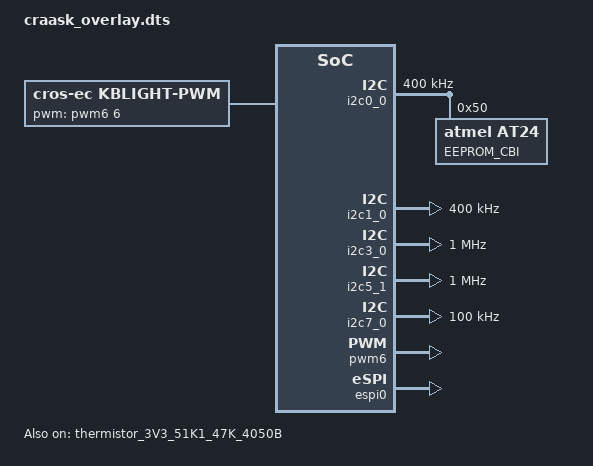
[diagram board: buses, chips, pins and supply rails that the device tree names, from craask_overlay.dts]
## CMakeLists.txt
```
# Copyright 2021 The ChromiumOS Authors
# Use of this source code is governed by a BSD-style license that can be
# found in the LICENSE file.

cmake_minimum_required(VERSION 3.13.1)

find_package(Zephyr REQUIRED HINTS "${ZEPHYR_BASE}")

zephyr_include_directories(include)
zephyr_library_sources("src/common.c")
zephyr_library_sources("src/sub_board.c")
zephyr_library_sources_ifdef(CONFIG_AP_PWRSEQ "src/board_power.c")

if(DEFINED CONFIG_BOARD_NIVVIKS)
	project(nivviks)
	zephyr_library_sources(
			"nivviks/src/led.c"
			"nivviks/src/form_factor.c"
			"nivviks/src/keyboard.c"
	)
	zephyr_library_sources_ifdef(CONFIG_PLATFORM_EC_FAN "nivviks/src/fan.c")
	zephyr_library_sources_ifdef(CONFIG_PLATFORM_EC_USBC "nivviks/src/usbc.c")
	zephyr_library_sources_ifdef(CONFIG_PLATFORM_EC_CHARGER "nivviks/src/charger.c")
endif()
if(DEFINED CONFIG_BOARD_NEREID)
	project(nereid)
	zephyr_library_sources(
			"src/led.c"
			"nereid/src/keyboard.c"
			"nereid/src/hdmi.c"
	)
	zephyr_library_sources_ifdef(CONFIG_PLATFORM_EC_USBC "nereid/src/usbc.c")
	zephyr_library_sources_ifdef(CONFIG_PLATFORM_EC_CHARGER "nereid/src/charger.c")
endif()
if(DEFINED CONFIG_BOARD_CRAASK)
	zephyr_library_sources(
			"craask/src/form_factor.c"
			"craask/src/keyboard.c"
			"craask/src/led.c"
	)
	project(craask)
	zephyr_library_sources_ifdef(CONFIG_PLATFORM_EC_USBC "craask/src/usbc.c")
	zephyr_library_sources_ifdef(CONFIG_PLATFORM_EC_CHARGER "craask/src/charger.c")
endif()
if(DEFINED CONFIG_BOARD_PUJJO)
	project(pujjo)
	zephyr_library_sources(
			"pujjo/src/led.c"
			"pujjo/src/keyboard.c"
			"pujjo/src/hdmi.c"
			"pujjo/src/form_factor.c"
	)
	zephyr_library_sources_ifdef(CONFIG_PLATFORM_EC_FAN "pujjo/src/fan.c")
	zephyr_library_sources_ifdef(CONFIG_PLATFORM_EC_USBC "pujjo/src/usbc.c")
	zephyr_library_sources_ifdef(CONFIG_PLATFORM_EC_CHARGER "pujjo/src/charger.c")
endif()
if(DEFINED CONFIG_BOARD_XIVU)
	project(xivu)
	zephyr_library_sources(
			"xivu/src/keyboard.c"
	)
	zephyr_library_sources_ifdef(CONFIG_PLATFORM_EC_USBC "xivu/src/usbc.c")
	zephyr_library_sources_ifdef(CONFIG_PLATFORM_EC_CHARGER "xivu/src/charger.c")
endif()
if(DEFINED CONFIG_BOARD_JOXER)
	project(joxer)
	zephyr_library_sources(
			"joxer/src/led.c"
			"joxer/src/keyboard.c"
	)
	zephyr_library_sources_ifdef(CONFIG_PLATFORM_EC_USBC "joxer/src/usbc.c")
	zephyr_library_sources_ifdef(CONFIG_PLATFORM_EC_CHARGER "joxer/src/charger.c")
	zephyr_library_sources_ifdef(CONFIG_PLATFORM_EC_FAN "joxer/src/fan.c")
endif()
if(DEFINED CONFIG_BOARD_YAVIKS)
	project(yaviks)
	zephyr_library_sources(
			"yaviks/src/led.c"
			"yaviks/src/keyboard.c"
	)
	zephyr_library_sources_ifdef(CONFIG_PLATFORM_EC_USBC "yaviks/src/usbc.c")
	zephyr_library_sources_ifdef(CONFIG_PLATFORM_EC_CHARGER "yaviks/src/charger.c")
	zephyr_library_sources_ifdef(CONFIG_PLATFORM_EC_FAN "yaviks/src/fan.c")
endif()
```

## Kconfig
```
# Copyright 2021 The ChromiumOS Authors
# Use of this source code is governed by a BSD-style license that can be
# found in the LICENSE file.

config BOARD_NIVVIKS
	bool "Google Nivviks Board"
	help
	  Build Google Nivviks reference board. Nivviks has Intel ADL-N SoC
	  with NPCX993FA0BX EC.

config BOARD_NEREID
	bool "Google Nereid Board"
	help
	  Build Google Nereid reference board. Nereid has Intel ADL-N SoC
	  with IT81302 EC.

config BOARD_CRAASK
	bool "Google Craask Board"
	help
	  Build Google Craask board. Craask has Intel ADL-N SoC
	  with NPCX993FA0BX EC.

config BOARD_PUJJO
	bool "Google Pujjo Board"
	help
	  Build Google Pujjo board. Pujjo has Intel ADL-N SoC
	  with NPCX993FA0BX EC.

config BOARD_XIVU
        bool "Google Xivu Board"
        help
          Build Google Xivu board. Xivu has Intel ADL-N SoC
          with NPCX993FA0BX EC.

config BOARD_JOXER
	bool "Google Joxer Board"
	help
	  Build Google Joxer reference board. Joxer has Intel ADL-N SoC
	  with IT81302 EC.

config BOARD_YAVIKS
	bool "Google Yaviks Board"
	help
	  Build Google Yaviks board. Yaviks has Intel ADL-N SoC
	  with IT81302 EC.


module = NISSA
module-str = Nissa board-specific code
source "subsys/logging/Kconfig.template.log_config"

source "Kconfig.zephyr"
```

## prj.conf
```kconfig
# Copyright 2021 The ChromiumOS Authors
# Use of this source code is governed by a BSD-style license that can be
# found in the LICENSE file.

# Core EC configuration: build the EC application, using ECOS shims
# (which are currently required for a number of features).
CONFIG_CROS_EC=y
CONFIG_PLATFORM_EC=y
CONFIG_SHIMMED_TASKS=y
CONFIG_LTO=y

# Debug options and features; can be disabled to save memory or once bringup
# is complete.
CONFIG_SHELL_MINIMAL=n
CONFIG_LOG=y
CONFIG_LOG_MODE_MINIMAL=y

# RAM-saving options
# flash shell command is unused, allocated a 4kB buffer for flash test
CONFIG_FLASH_SHELL=n
# EC default 1kB buffer seems unnecessarily large, Zephyr default is 8 bytes
CONFIG_SHELL_BACKEND_SERIAL_TX_RING_BUFFER_SIZE=128

# Standard shimmed features
CONFIG_PLATFORM_EC_BACKLIGHT_LID=y
CONFIG_PLATFORM_EC_CONSOLE_CMD_SYSINFO=y
CONFIG_PLATFORM_EC_EEPROM_CBI_WP=y
CONFIG_PLATFORM_EC_LID_SWITCH=y
CONFIG_PLATFORM_EC_POWER_BUTTON=y
CONFIG_PLATFORM_EC_SWITCH=y
CONFIG_PLATFORM_EC_GMR_TABLET_MODE=y
CONFIG_PLATFORM_EC_TABLET_MODE=y
CONFIG_PLATFORM_EC_TABLET_MODE_SWITCH=y
CONFIG_PLATFORM_EC_VBOOT_EFS2=y
CONFIG_PLATFORM_EC_VBOOT_HASH=y

# Application processor; communicates with EC via eSPI
CONFIG_AP=y
CONFIG_AP_X86_INTEL_ADL=y
CONFIG_ESPI=y
CONFIG_PLATFORM_EC_HOST_INTERFACE_ESPI_VW_SLP_S4=y
CONFIG_PLATFORM_EC_HOST_INTERFACE_ESPI_VW_SLP_S5=y
CONFIG_PLATFORM_EC_HOSTCMD=y
CONFIG_HCDEBUG_OFF=y
CONFIG_PLATFORM_EC_THROTTLE_AP=y
CONFIG_PLATFORM_EC_PORT80=y
CONFIG_PLATFORM_EC_PORT80_QUIET=y

# AP Power Sequencing
CONFIG_AP_PWRSEQ=y
CONFIG_X86_NON_DSX_PWRSEQ_ADL=y
CONFIG_X86_NON_DSX_PWRSEQ_CONSOLE=y
CONFIG_X86_NON_DSX_PWRSEQ_HOST_CMD=y
CONFIG_AP_PWRSEQ_S0IX=y
CONFIG_AP_PWRSEQ_S0IX_ERROR_RECOVERY=y

# I2C
CONFIG_I2C=y

# Keyboard support
CONFIG_PLATFORM_EC_KBLIGHT_ENABLE_PIN=y
CONFIG_PLATFORM_EC_KEYBOARD=y
CONFIG_PLATFORM_EC_KEYBOARD_PROTOCOL_8042=y
CONFIG_PLATFORM_EC_VOLUME_BUTTONS=y
CONFIG_PLATFORM_EC_CMD_BUTTON=n
# Column 2 is driven through the GSC, which inverts the signal going through it
CONFIG_PLATFORM_EC_KEYBOARD_COL2_INVERTED=y

# LED
CONFIG_PLATFORM_EC_LED_COMMON=y
CONFIG_PLATFORM_EC_LED_PWM=y
CONFIG_PLATFORM_EC_LED_ONOFF_STATES=y
CONFIG_PLATFORM_EC_CONSOLE_CMD_LEDTEST=n

# MKBP event
CONFIG_PLATFORM_EC_MKBP_EVENT=y
CONFIG_PLATFORM_EC_MKBP_INPUT_DEVICES=y
CONFIG_PLATFORM_EC_MKBP_USE_GPIO_AND_HOST_EVENT=y

# Temperature sensor support
CONFIG_PLATFORM_EC_TEMP_SENSOR=y
CONFIG_PLATFORM_EC_THERMISTOR=y
CONFIG_PLATFORM_EC_TEMP_SENSOR_FIRST_READ_DELAY=y

# CBI EEPROM support
CONFIG_EEPROM=y
CONFIG_EEPROM_AT24=y
CONFIG_EEPROM_SHELL=n
CONFIG_PLATFORM_EC_CBI_EEPROM=y
CONFIG_PLATFORM_EC_BOARD_VERSION_CBI=y


# PWM support
CONFIG_PWM=y
CONFIG_PWM_SHELL=y

# TODO(b/188605676): bring these features up
CONFIG_PLATFORM_EC_BACKLIGHT_LID=n

# Sensors support
CONFIG_PLATFORM_EC_LID_ANGLE=y
CONFIG_PLATFORM_EC_LID_ANGLE_UPDATE=y
CONFIG_PLATFORM_EC_MOTIONSENSE=y
CONFIG_PLATFORM_EC_CONSOLE_CMD_ACCELS=y
CONFIG_PLATFORM_EC_CONSOLE_CMD_ACCEL_INFO=y
CONFIG_PLATFORM_EC_ACCEL_FIFO=y
CONFIG_PLATFORM_EC_SENSOR_TIGHT_TIMESTAMPS=y

# USB-C: enable PD on up to two ports
CONFIG_PLATFORM_EC_USBC=y
CONFIG_PLATFORM_EC_USBC_PPC=n
CONFIG_PLATFORM_EC_USB_VID=0x18d1
CONFIG_PLATFORM_EC_USB_PID=0x505a
# USB4 and TBT are unsupported
CONFIG_PLATFORM_EC_USB_PD_USB4=n
CONFIG_PLATFORM_EC_USB_PD_TBT_COMPAT_MODE=n

CONFIG_PLATFORM_EC_USB_MUX_RUNTIME_CONFIG=y
CONFIG_PLATFORM_EC_USB_MUX_VIRTUAL=y
# ADL integrated muxes are slow: unblock PD
CONFIG_PLATFORM_EC_USB_MUX_TASK=y
CONFIG_PLATFORM_EC_BC12_DETECT_PI3USB9201=y

# USB-C TCPC and PPC standard options
CONFIG_PLATFORM_EC_USB_PD_TCPC_LOW_POWER=y
CONFIG_PLATFORM_EC_USB_PD_VBUS_MEASURE_CHARGER=y

# USB-A host ports
CONFIG_PLATFORM_EC_USBA=y
CONFIG_PLATFORM_EC_USB_PORT_ENABLE_DYNAMIC=y
# Both ports use a smart switch with CTL1..3 fixed high, for SDP2 or CDP only:
# either SLGC55545 or PI5USB2546.
CONFIG_PLATFORM_EC_USB_PORT_POWER_SMART=y
CONFIG_PLATFORM_EC_USB_PORT_POWER_SMART_CDP_SDP_ONLY=y
CONFIG_PLATFORM_EC_USB_PORT_POWER_SMART_DEFAULT_CDP=y

# Battery support
CONFIG_PLATFORM_EC_BATTERY=y
CONFIG_PLATFORM_EC_BATTERY_CUT_OFF=y
CONFIG_PLATFORM_EC_BATTERY_PRESENT_GPIO=y
CONFIG_PLATFORM_EC_BATTERY_FUEL_GAUGE=y
CONFIG_PLATFORM_EC_BATTERY_SMART=y
CONFIG_PLATFORM_EC_BATTERY_REVIVE_DISCONNECT=y

# Charger support
CONFIG_PLATFORM_EC_CHARGER=y
CONFIG_PLATFORM_EC_CHARGER_SENSE_RESISTOR=10
CONFIG_PLATFORM_EC_CHARGER_SENSE_RESISTOR_AC=10
CONFIG_PLATFORM_EC_CHARGER_DISCHARGE_ON_AC=y
CONFIG_PLATFORM_EC_CHARGER_DISCHARGE_ON_AC_CHARGER=y

# Dynamically select PD voltage to maximize charger efficiency
CONFIG_PLATFORM_EC_USB_PD_DPS=y
# Reduce logging so that state transitions do not cause protocol issues
# pd dump [1-3] can be used to increase the debugging level
CONFIG_PLATFORM_EC_USB_PD_INITIAL_DEBUG_LEVEL=0
```

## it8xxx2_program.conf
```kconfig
# Copyright 2022 The ChromiumOS Authors
# Use of this source code is governed by a BSD-style license that can be
# found in the LICENSE file.

CONFIG_CROS_FLASH_IT8XXX2=y
CONFIG_CROS_SYSTEM_IT8XXX2=y
CONFIG_ESPI_IT8XXX2=y
CONFIG_FPU=y
# rv32iafc/ilp32f is not supported by the toolchain, so use soft-float
CONFIG_FLOAT_HARD=n

# EC performance is bad; limiting sensor data rate helps keep it from degrading
# so much that it causes problems. b/240485526, b/230818312
CONFIG_PLATFORM_EC_MAX_SENSOR_FREQ_MILLIHZ=100000

# Allow more time for the charger to stabilise
CONFIG_PLATFORM_EC_POWER_BUTTON_INIT_TIMEOUT=5

# ITE has more space, so don't restrict shell
CONFIG_SHELL_MINIMAL=n

# RAM savings, since this chip is tight on available RAM.
# It's useful to store a lot of logs for the host to request, but the default 4k
# is pretty large.
CONFIG_PLATFORM_EC_HOSTCMD_CONSOLE_BUF_SIZE=2048
# Our threads have short names, save 20 bytes per thread
CONFIG_THREAD_MAX_NAME_LEN=12
# Task stacks, tuned by experiment. Most expanded to prevent overflow, and a few
# shrunk to save RAM.
CONFIG_AP_PWRSEQ_STACK_SIZE=1408
CONFIG_TASK_HOSTCMD_STACK_SIZE=1280
CONFIG_TASK_MOTIONSENSE_STACK_SIZE=1280
CONFIG_TASK_PD_INT_STACK_SIZE=1280

# TCPC+PPC: ITE on-chip for C0, PS8745 for optional C1
CONFIG_PLATFORM_EC_USB_PD_TCPM_ITE_ON_CHIP=y
CONFIG_PLATFORM_EC_USB_PD_TCPM_DRIVER_IT8XXX2=y
CONFIG_PLATFORM_EC_USB_PD_TCPM_PS8745=y
CONFIG_PLATFORM_EC_USB_PD_VBUS_DETECT_CHARGER=y
# SM5803 controls power path on both ports
CONFIG_PLATFORM_EC_USB_PD_5V_CHARGER_CTRL=y
# SM5803 can discharge VBUS, but not via one of the available options;
# pd_power_supply_reset() does discharge.
CONFIG_PLATFORM_EC_USB_PD_DISCHARGE=n
# The EC is put into programming mode while firmware is running
# (after releasing reset) and PD after being reset will hard-reset
# the port if a contract was already set up. If the system has no
# battery, this will prevent programming because it will brown out
# the system and reset. Inserting a delay gives the programmer more
# time to put the EC into programming mode.
CONFIG_PLATFORM_EC_USB_PD_STARTUP_DELAY_MS=2000

# Charger driver and configuration
CONFIG_PLATFORM_EC_OCPC=y
CONFIG_PLATFORM_EC_CHARGER_SM5803=y
CONFIG_PLATFORM_EC_OCPC_DEF_RBATT_MOHMS=21
CONFIG_PLATFORM_EC_PD_MAX_VOLTAGE_MV=15000

# VSENSE: PP3300_S5 & PP1050_PROC
CONFIG_VCMP_IT8XXX2=y
CONFIG_SENSOR=y
CONFIG_SENSOR_SHELL=n
```

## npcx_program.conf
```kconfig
# Copyright 2022 The ChromiumOS Authors
# Use of this source code is governed by a BSD-style license that can be
# found in the LICENSE file.

# EC chip configuration: NPCX993
CONFIG_CROS_FLASH_NPCX=y
CONFIG_CROS_SYSTEM_NPCX=y
CONFIG_SOC_SERIES_NPCX9=y
CONFIG_PLATFORM_EC_WORKAROUND_FLASH_DOWNLOAD_API=y
CONFIG_SYSCON=y
CONFIG_TACH_NPCX=y
CONFIG_SHELL_BACKEND_SERIAL_RX_RING_BUFFER_SIZE=256

# Common sensor drivers
CONFIG_PLATFORM_EC_ACCEL_LIS2DW12=y

# Keyboard
CONFIG_CROS_KB_RAW_NPCX=y
CONFIG_PLATFORM_EC_KBLIGHT_ENABLE_PIN=y
# Ensure recovery key combination (esc+refresh+power) is reliable
CONFIG_PLATFORM_EC_KEYBOARD_PWRBTN_ASSERTS_KSI3=y
CONFIG_PLATFORM_EC_KEYBOARD_REFRESH_ROW3=y

# TCPC+PPC: both C0 and C1 (if present) are RAA489000
CONFIG_PLATFORM_EC_USB_PD_TCPM_RAA489000=y
CONFIG_PLATFORM_EC_USB_PD_DISCHARGE_TCPC=y
CONFIG_PLATFORM_EC_USB_PD_VBUS_DETECT_TCPC=y
CONFIG_PLATFORM_EC_USB_PD_TCPC_LPM_EXIT_DEBOUNCE_US=100000
# RAA489000 uses TCPCI but not a separate PPC, so custom function is required
CONFIG_PLATFORM_EC_USB_PD_5V_EN_CUSTOM=y
# type C port 1 redriver
CONFIG_PLATFORM_EC_USBC_RETIMER_ANX7483=y
# Save some space
CONFIG_SHELL_MINIMAL=y

# FRS enable
CONFIG_PLATFORM_EC_USB_PD_FRS=y
CONFIG_PLATFORM_EC_USB_PD_FRS_TCPC=y

# Charger driver and configuration
CONFIG_PLATFORM_EC_CHARGER_RAA489000=y
CONFIG_PLATFORM_EC_OCPC_DEF_RBATT_MOHMS=22

# VSENSE: PP3300_S5 & PP1050_PROC
CONFIG_ADC_CMP_NPCX=y
CONFIG_ADC_CMP_NPCX_WORKQUEUE=y
CONFIG_ADC_CMP_NPCX_WORKQUEUE_PRIORITY=12
CONFIG_SENSOR=y
CONFIG_SENSOR_SHELL=n
```

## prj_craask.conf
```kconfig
# Copyright 2022 The Chromium OS Authors. All rights reserved.
# Use of this source code is governed by a BSD-style license that can be
# found in the LICENSE file.

# EC chip configuration: NPCX993
CONFIG_BOARD_CRAASK=y
CONFIG_CROS_FLASH_NPCX=y
CONFIG_CROS_SYSTEM_NPCX=y
CONFIG_SOC_SERIES_NPCX9=y
CONFIG_PLATFORM_EC_WORKAROUND_FLASH_DOWNLOAD_API=y
CONFIG_SYSCON=y
CONFIG_TACH_NPCX=n

# Sensor drivers
CONFIG_PLATFORM_EC_ACCELGYRO_LSM6DSO=y
CONFIG_PLATFORM_EC_ACCEL_LIS2DW12=y

# Keyboard
CONFIG_CROS_KB_RAW_NPCX=y
CONFIG_PLATFORM_EC_KBLIGHT_ENABLE_PIN=y

# TCPC+PPC: both C0 and C1 (if present) are RAA489000
CONFIG_PLATFORM_EC_USB_PD_TCPM_RAA489000=y
CONFIG_PLATFORM_EC_USB_PD_DISCHARGE_TCPC=y
CONFIG_PLATFORM_EC_USB_PD_VBUS_DETECT_TCPC=y
CONFIG_PLATFORM_EC_USB_PD_TCPC_LPM_EXIT_DEBOUNCE_US=100000
# RAA489000 uses TCPCI but not a separate PPC, so custom function is required
CONFIG_PLATFORM_EC_USB_PD_5V_EN_CUSTOM=y
# type C port 1 redriver
CONFIG_PLATFORM_EC_USBC_RETIMER_ANX7483=y

# Charger driver and configuration
CONFIG_PLATFORM_EC_CHARGER_RAA489000=y
CONFIG_PLATFORM_EC_OCPC_DEF_RBATT_MOHMS=22

# VSENSE: PP3300_S5 & PP1050_PROC
CONFIG_ADC_CMP_NPCX=y
CONFIG_SENSOR=y
CONFIG_SENSOR_SHELL=n
```

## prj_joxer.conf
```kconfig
# Copyright 2021 The Chromium OS Authors. All rights reserved.
# Use of this source code is governed by a BSD-style license that can be
# found in the LICENSE file.

# EC chip configuration: IT83102
CONFIG_BOARD_JOXER=y
CONFIG_CROS_FLASH_IT8XXX2=y
CONFIG_CROS_SYSTEM_IT8XXX2=y
CONFIG_ESPI_IT8XXX2=y
CONFIG_TACH_IT8XXX2=y

# Allow more time for the charger to stabilise
CONFIG_PLATFORM_EC_POWER_BUTTON_INIT_TIMEOUT=5

# RAM savings, since this chip is tight on available RAM.
# It's useful to store a lot of logs for the host to request, but the default 4k
# is pretty large.
CONFIG_PLATFORM_EC_HOSTCMD_CONSOLE_BUF_SIZE=2048
# Our threads have short names, save 20 bytes per thread
CONFIG_THREAD_MAX_NAME_LEN=12
# Task stacks, tuned by experiment. Most expanded to prevent overflow, and a few
# shrunk to save RAM.
CONFIG_AP_PWRSEQ_STACK_SIZE=1408
CONFIG_TASK_HOSTCMD_STACK_SIZE=1280
CONFIG_TASK_MOTIONSENSE_STACK_SIZE=1280
CONFIG_TASK_PD_INT_STACK_SIZE=1280

# Sensor drivers
CONFIG_PLATFORM_EC_ACCELGYRO_BMI_COMM_I2C=y
CONFIG_PLATFORM_EC_ACCELGYRO_BMI3XX=y
CONFIG_PLATFORM_EC_ACCEL_BMA4XX=y

# TCPC+PPC: ITE on-chip for C0, PS8745 for optional C1
CONFIG_PLATFORM_EC_USB_PD_TCPM_ITE_ON_CHIP=y
CONFIG_PLATFORM_EC_USB_PD_TCPM_DRIVER_IT8XXX2=y
CONFIG_PLATFORM_EC_USB_PD_TCPM_PS8815=y
CONFIG_PLATFORM_EC_USB_PD_VBUS_DETECT_CHARGER=y
# SM5803 controls power path on both ports
CONFIG_PLATFORM_EC_USB_PD_5V_CHARGER_CTRL=y
# SM5803 can discharge VBUS, but not via one of the available options;
# pd_power_supply_reset() does discharge.
CONFIG_PLATFORM_EC_USB_PD_DISCHARGE=n
# The EC is put into programming mode while firmware is running
# (after releasing reset) and PD after being reset will hard-reset
# the port if a contract was already set up. If the system has no
# battery, this will prevent programming because it will brown out
# the system and reset. Inserting a delay gives the programmer more
# time to put the EC into programming mode.
CONFIG_PLATFORM_EC_USB_PD_STARTUP_DELAY_MS=2000

# Charger driver and configuration
CONFIG_PLATFORM_EC_CHARGER_SM5803=y
CONFIG_PLATFORM_EC_OCPC_DEF_RBATT_MOHMS=21

# VSENSE: PP3300_S5 & PP1050_PROC
CONFIG_VCMP_IT8XXX2=y
CONFIG_SENSOR=y
CONFIG_SENSOR_SHELL=n
```

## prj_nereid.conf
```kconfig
# Copyright 2021 The Chromium OS Authors. All rights reserved.
# Use of this source code is governed by a BSD-style license that can be
# found in the LICENSE file.

# EC chip configuration: IT83102
CONFIG_BOARD_NEREID=y
CONFIG_CROS_FLASH_IT8XXX2=y
CONFIG_CROS_SYSTEM_IT8XXX2=y
CONFIG_ESPI_IT8XXX2=y

# Permit more detailed debugging of chargers
# TODO(b:230712704) disable when behavior is better understood
CONFIG_PLATFORM_EC_CONSOLE_CMD_CHARGER_DUMP=y

# Allow more time for the charger to stabilise
CONFIG_PLATFORM_EC_POWER_BUTTON_INIT_TIMEOUT=5

# RAM savings, since this chip is tight on available RAM.
# It's useful to store a lot of logs for the host to request, but the default 4k
# is pretty large.
CONFIG_PLATFORM_EC_HOSTCMD_CONSOLE_BUF_SIZE=2048
# Our threads have short names, save 20 bytes per thread
CONFIG_THREAD_MAX_NAME_LEN=12
# Task stacks, tuned by experiment. Most expanded to prevent overflow, and a few
# shrunk to save RAM.
CONFIG_AP_PWRSEQ_STACK_SIZE=1408
CONFIG_TASK_HOSTCMD_STACK_SIZE=1280
CONFIG_TASK_MOTIONSENSE_STACK_SIZE=1280
CONFIG_TASK_PD_INT_STACK_SIZE=1280

# Sensor drivers
CONFIG_PLATFORM_EC_ACCELGYRO_BMI_COMM_I2C=y
CONFIG_PLATFORM_EC_ACCELGYRO_BMI3XX=y
CONFIG_PLATFORM_EC_ACCEL_BMA4XX=y

# TCPC+PPC: ITE on-chip for C0, PS8745 for optional C1
CONFIG_PLATFORM_EC_USB_PD_TCPM_ITE_ON_CHIP=y
CONFIG_PLATFORM_EC_USB_PD_TCPM_DRIVER_IT8XXX2=y
CONFIG_PLATFORM_EC_USB_PD_TCPM_PS8815=y
CONFIG_PLATFORM_EC_USB_PD_VBUS_DETECT_CHARGER=y
# SM5803 controls power path on both ports
CONFIG_PLATFORM_EC_USB_PD_5V_CHARGER_CTRL=y
# SM5803 can discharge VBUS, but not via one of the available options;
# pd_power_supply_reset() does discharge.
CONFIG_PLATFORM_EC_USB_PD_DISCHARGE=n
# The EC is put into programming mode while firmware is running
# (after releasing reset) and PD after being reset will hard-reset
# the port if a contract was already set up. If the system has no
# battery, this will prevent programming because it will brown out
# the system and reset. Inserting a delay gives the programmer more
# time to put the EC into programming mode.
CONFIG_PLATFORM_EC_USB_PD_STARTUP_DELAY_MS=2000

# Charger driver and configuration
CONFIG_PLATFORM_EC_CHARGER_SM5803=y
CONFIG_PLATFORM_EC_OCPC_DEF_RBATT_MOHMS=21

# VSENSE: PP3300_S5 & PP1050_PROC
CONFIG_VCMP_IT8XXX2=y
CONFIG_SENSOR=y
CONFIG_SENSOR_SHELL=n
CONFIG_TACH_IT8XXX2=n
```

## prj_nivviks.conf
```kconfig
# Copyright 2021 The Chromium OS Authors. All rights reserved.
# Use of this source code is governed by a BSD-style license that can be
# found in the LICENSE file.

# EC chip configuration: NPCX993
CONFIG_BOARD_NIVVIKS=y
CONFIG_CROS_FLASH_NPCX=y
CONFIG_CROS_SYSTEM_NPCX=y
CONFIG_SOC_SERIES_NPCX9=y
CONFIG_PLATFORM_EC_WORKAROUND_FLASH_DOWNLOAD_API=y
CONFIG_SYSCON=y
CONFIG_TACH_NPCX=y
CONFIG_SHELL_BACKEND_SERIAL_RX_RING_BUFFER_SIZE=256

# Sensor drivers
CONFIG_PLATFORM_EC_ACCELGYRO_LSM6DSO=y
CONFIG_PLATFORM_EC_ACCEL_LIS2DW12=y

# Keyboard
CONFIG_CROS_KB_RAW_NPCX=y
CONFIG_PLATFORM_EC_KBLIGHT_ENABLE_PIN=y

# TCPC+PPC: both C0 and C1 (if present) are RAA489000
CONFIG_PLATFORM_EC_USB_PD_TCPM_RAA489000=y
CONFIG_PLATFORM_EC_USB_PD_DISCHARGE_TCPC=y
CONFIG_PLATFORM_EC_USB_PD_VBUS_DETECT_TCPC=y
CONFIG_PLATFORM_EC_USB_PD_TCPC_LPM_EXIT_DEBOUNCE_US=100000
# RAA489000 uses TCPCI but not a separate PPC, so custom function is required
CONFIG_PLATFORM_EC_USB_PD_5V_EN_CUSTOM=y
# type C port 1 redriver
CONFIG_PLATFORM_EC_USBC_RETIMER_ANX7483=y

# Charger driver and configuration
CONFIG_PLATFORM_EC_CHARGER_RAA489000=y
CONFIG_PLATFORM_EC_OCPC_DEF_RBATT_MOHMS=22

# VSENSE: PP3300_S5 & PP1050_PROC
CONFIG_ADC_CMP_NPCX=y
CONFIG_SENSOR=y
CONFIG_SENSOR_SHELL=n
```

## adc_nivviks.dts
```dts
/* Copyright 2021 The Chromium OS Authors. All rights reserved.
 * Use of this source code is governed by a BSD-style license that can be
 * found in the LICENSE file.
 */

#include <cros/thermistor/thermistor.dtsi>

/ {
	named-adc-channels {
		compatible = "named-adc-channels";

		adc_temp_1: temp_1 {
			label = "TEMP_SENSOR_1";
			enum-name = "ADC_TEMP_SENSOR_1";
			channel = <0>;
		};
		adc_temp_2: temp_2 {
			label = "TEMP_SENSOR_2";
			enum-name = "ADC_TEMP_SENSOR_2";
			channel = <1>;
		};
	};

	named-temp-sensors {
		memory {
			compatible = "cros-ec,temp-sensor-thermistor";
			thermistor = <&thermistor_3V3_51K1_47K_4050B>;
			label = "DDR and SOC";
			enum-name = "TEMP_SENSOR_1";
			temp_fan_off = <35>;
			temp_fan_max = <60>;
			temp_host_high = <85>;
			temp_host_halt = <90>;
			temp_host_release_high = <80>;
			adc = <&adc_temp_1>;
		};
		chassis {
			compatible = "cros-ec,temp-sensor-thermistor";
			thermistor = <&thermistor_3V3_51K1_47K_4050B>;
			label = "Ambient";
			enum-name = "TEMP_SENSOR_2";
			temp_fan_off = <35>;
			temp_fan_max = <60>;
			temp_host_high = <85>;
			temp_host_halt = <90>;
			temp_host_release_high = <80>;
			adc = <&adc_temp_1>;
		};
	};
};

&adc0 {
	status = "okay";
};

&thermistor_3V3_51K1_47K_4050B {
	status = "okay";
};
```

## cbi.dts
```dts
/* Copyright 2022 The Chromium OS Authors. All rights reserved.
 * Use of this source code is governed by a BSD-style license that can be
 * found in the LICENSE file.
 */

/ {
	nissa-fw-config {
		compatible = "cros-ec,cbi-fw-config";

		/*
		 * FW_CONFIG field to indicate which sub-board
		 * is attached.
		 */
		sub-board {
			enum-name = "FW_SUB_BOARD";
			start = <0>;
			size = <2>;

			sub-board-1 {
				compatible = "cros-ec,cbi-fw-config-value";
				enum-name = "FW_SUB_BOARD_1";
				value = <1>;
			};
			sub-board-2 {
				compatible = "cros-ec,cbi-fw-config-value";
				enum-name = "FW_SUB_BOARD_2";
				value = <2>;
			};
			sub-board-3 {
				compatible = "cros-ec,cbi-fw-config-value";
				enum-name = "FW_SUB_BOARD_3";
				value = <3>;
			};
		};

		/*
		 * FW_CONFIG field to enable fan or not.
		 */
		fan {
			enum-name = "FW_FAN";
			start = <2>;
			size = <1>;

			no-fan {
				compatible = "cros-ec,cbi-fw-config-value";
				enum-name = "FW_FAN_NOT_PRESENT";
				value = <0>;
			};
			fan-present {
				compatible = "cros-ec,cbi-fw-config-value";
				enum-name = "FW_FAN_PRESENT";
				value = <1>;
				/*
				 * Set as default so that unprovisioned
				 * configs will run the fan regardless.
				 */
				default;
			};
		};
	};
};
```

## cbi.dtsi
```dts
/* Copyright 2022 The ChromiumOS Authors
 * Use of this source code is governed by a BSD-style license that can be
 * found in the LICENSE file.
 */

/ {
	nissa-fw-config {
		compatible = "cros-ec,cbi-fw-config";

		/*
		 * FW_CONFIG field to indicate which sub-board
		 * is attached.
		 */
		sub-board {
			enum-name = "FW_SUB_BOARD";
			start = <0>;
			size = <2>;

			sub-board-1 {
				compatible = "cros-ec,cbi-fw-config-value";
				enum-name = "FW_SUB_BOARD_1";
				value = <1>;
			};
			sub-board-2 {
				compatible = "cros-ec,cbi-fw-config-value";
				enum-name = "FW_SUB_BOARD_2";
				value = <2>;
			};
			sub-board-3 {
				compatible = "cros-ec,cbi-fw-config-value";
				enum-name = "FW_SUB_BOARD_3";
				value = <3>;
			};
		};

		/*
		 * FW_CONFIG field to enable fan or not.
		 */
		fan {
			enum-name = "FW_FAN";
			start = <2>;
			size = <1>;

			no-fan {
				compatible = "cros-ec,cbi-fw-config-value";
				enum-name = "FW_FAN_NOT_PRESENT";
				value = <0>;
			};
			fan-present {
				compatible = "cros-ec,cbi-fw-config-value";
				enum-name = "FW_FAN_PRESENT";
				value = <1>;
				/*
				 * Set as default so that unprovisioned
				 * configs will run the fan regardless.
				 */
				default;
			};
		};
	};
};
```

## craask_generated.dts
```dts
/* Copyright 2022 The Chromium OS Authors. All rights reserved.
 * Use of this source code is governed by a BSD-style license that can be
 * found in the LICENSE file.
 *
 * This file is auto-generated - do not edit!
 */

/ {

	named-adc-channels {
		compatible = "named-adc-channels";

		adc_ec_vsense_pp1050_proc: ec_vsense_pp1050_proc {
			label = "EC_VSENSE_PP1050_PROC";
			enum-name = "ADC_PP1050_PROC";
			io-channels = <&adc0 4>;
		};
		adc_ec_vsense_pp3300_s5: ec_vsense_pp3300_s5 {
			label = "EC_VSENSE_PP3300_S5";
			enum-name = "ADC_PP3300_S5";
			io-channels = <&adc0 6>;
		};
		adc_temp_sensor_1: temp_sensor_1 {
			label = "TEMP_SENSOR_1";
			enum-name = "ADC_TEMP_SENSOR_1";
			io-channels = <&adc0 0>;
		};
		adc_temp_sensor_2: temp_sensor_2 {
			label = "TEMP_SENSOR_2";
			enum-name = "ADC_TEMP_SENSOR_2";
			io-channels = <&adc0 1>;
		};
	};

	named-gpios {
		compatible = "named-gpios";

		gpio_acc_int_l: acc_int_l {
			gpios = <&gpio5 0 GPIO_INPUT>;
		};
		gpio_all_sys_pwrgd: all_sys_pwrgd {
			gpios = <&gpioa 7 GPIO_INPUT>;
		};
		gpio_ccd_mode_odl: ccd_mode_odl {
			gpios = <&gpioe 5 GPIO_INPUT>;
			enum-name = "GPIO_CCD_MODE_ODL";
		};
		gpio_cpu_c10_gate_l: cpu_c10_gate_l {
			gpios = <&gpio6 7 GPIO_INPUT>;
		};
		gpio_ec_battery_pres_odl: ec_battery_pres_odl {
			gpios = <&gpioa 3 GPIO_INPUT>;
			enum-name = "GPIO_BATT_PRES_ODL";
		};
		gpio_ec_cbi_wp: ec_cbi_wp {
			gpios = <&gpio7 4 GPIO_OUTPUT>;
		};
		gpio_ec_edp_bl_en_od: ec_edp_bl_en_od {
			gpios = <&gpiod 3 GPIO_ODR_HIGH>;
			enum-name = "GPIO_ENABLE_BACKLIGHT";
		};
		gpio_ec_entering_rw: ec_entering_rw {
			gpios = <&gpio0 3 GPIO_OUTPUT>;
			enum-name = "GPIO_ENTERING_RW";
		};
		gpio_ec_gsc_packet_mode: ec_gsc_packet_mode {
			gpios = <&gpio7 5 GPIO_OUTPUT>;
			enum-name = "GPIO_PACKET_MODE_EN";
		};
		gpio_ec_kso_02_inv: ec_kso_02_inv {
			gpios = <&gpio1 7 (GPIO_OUTPUT | GPIO_ACTIVE_LOW)>;
		};
		gpio_ec_pch_wake_odl: ec_pch_wake_odl {
			gpios = <&gpiob 0 GPIO_ODR_LOW>;
		};
		gpio_ec_prochot_odl: ec_prochot_odl {
			gpios = <&gpiof 1 GPIO_ODR_HIGH>;
		};
		gpio_ec_soc_dsw_pwrok: ec_soc_dsw_pwrok {
			gpios = <&gpio6 1 GPIO_OUTPUT>;
		};
		gpio_ec_soc_hdmi_hpd: ec_soc_hdmi_hpd {
			gpios = <&gpioe 4 GPIO_OUTPUT>;
		};
		gpio_ec_soc_int_odl: ec_soc_int_odl {
			gpios = <&gpio8 0 GPIO_ODR_HIGH>;
			enum-name = "GPIO_EC_INT_L";
		};
		gpio_ec_soc_pch_pwrok_od: ec_soc_pch_pwrok_od {
			gpios = <&gpio7 2 GPIO_ODR_HIGH>;
		};
		gpio_ec_soc_pwr_btn_odl: ec_soc_pwr_btn_odl {
			gpios = <&gpioc 1 GPIO_ODR_HIGH>;
			enum-name = "GPIO_PCH_PWRBTN_L";
		};
		gpio_ec_soc_rsmrst_l: ec_soc_rsmrst_l {
			gpios = <&gpioa 6 GPIO_OUTPUT>;
		};
		gpio_ec_soc_rtcrst: ec_soc_rtcrst {
			gpios = <&gpio7 6 GPIO_OUTPUT>;
		};
		gpio_ec_soc_sys_pwrok: ec_soc_sys_pwrok {
			gpios = <&gpio3 7 GPIO_OUTPUT>;
		};
		gpio_ec_soc_vccst_pwrgd_od: ec_soc_vccst_pwrgd_od {
			gpios = <&gpioa 4 GPIO_ODR_HIGH>;
		};
		gpio_ec_wp_odl: ec_wp_odl {
			gpios = <&gpioa 1 (GPIO_INPUT | GPIO_ACTIVE_LOW)>;
		};
		gpio_en_kb_bl: en_kb_bl {
			gpios = <&gpioa 0 GPIO_OUTPUT>;
			enum-name = "GPIO_EN_KEYBOARD_BACKLIGHT";
		};
		gpio_en_pp3300_s5: en_pp3300_s5 {
			gpios = <&gpiob 6 GPIO_OUTPUT>;
			enum-name = "GPIO_TEMP_SENSOR_POWER";
		};
		gpio_en_pp5000_pen_x: en_pp5000_pen_x {
			gpios = <&gpioe 2 GPIO_OUTPUT>;
		};
		gpio_en_pp5000_s5: en_pp5000_s5 {
			gpios = <&gpio4 0 GPIO_OUTPUT>;
		};
		gpio_en_slp_z: en_slp_z {
			gpios = <&gpioe 1 GPIO_OUTPUT>;
		};
		gpio_en_usb_a0_vbus: en_usb_a0_vbus {
			gpios = <&gpio9 1 GPIO_OUTPUT>;
		};
		gpio_gsc_ec_pwr_btn_odl: gsc_ec_pwr_btn_odl {
			gpios = <&gpio0 0 GPIO_INPUT_PULL_UP>;
			enum-name = "GPIO_POWER_BUTTON_L";
		};
		gpio_hdmi_sel: hdmi_sel {
			gpios = <&gpioc 6 GPIO_OUTPUT>;
		};
		gpio_imu_int_l: imu_int_l {
			gpios = <&gpio5 6 GPIO_INPUT>;
		};
		gpio_imvp91_vrrdy_od: imvp91_vrrdy_od {
			gpios = <&gpio4 3 GPIO_INPUT>;
		};
		gpio_lid_open: lid_open {
			gpios = <&gpiod 2 GPIO_INPUT>;
			enum-name = "GPIO_LID_OPEN";
		};
		gpio_pen_detect_odl: pen_detect_odl {
			gpios = <&gpio9 6 GPIO_INPUT_PULL_UP>;
		};
		gpio_pg_pp1050_mem_s3_od: pg_pp1050_mem_s3_od {
			gpios = <&gpiof 0 GPIO_INPUT>;
		};
		gpio_pg_pp5000_s5_od: pg_pp5000_s5_od {
			gpios = <&gpio4 2 GPIO_INPUT>;
		};
		gpio_rsmrst_pwrgd_l: rsmrst_pwrgd_l {
			gpios = <&gpio9 4 GPIO_INPUT_PULL_UP>;
		};
		gpio_slp_s0_l: slp_s0_l {
			gpios = <&gpio9 7 GPIO_INPUT>;
		};
		gpio_slp_s3_l: slp_s3_l {
			gpios = <&gpioa 5 GPIO_INPUT>;
		};
		gpio_slp_s4_l: slp_s4_l {
			gpios = <&gpio7 0 GPIO_INPUT>;
		};
		gpio_slp_sus_l: slp_sus_l {
			gpios = <&gpio6 2 GPIO_INPUT>;
		};
		gpio_sub_usb_a1_ilimit_sdp: sub_usb_a1_ilimit_sdp {
			gpios = <&gpiod 5 GPIO_OUTPUT>;
			enum-name = "GPIO_USB2_ILIM_SEL";
		};
		gpio_sys_rst_odl: sys_rst_odl {
			gpios = <&gpioc 5 GPIO_ODR_HIGH>;
		};
		gpio_tablet_mode_l: tablet_mode_l {
			gpios = <&gpio9 5 GPIO_INPUT>;
			enum-name = "GPIO_TABLET_MODE_L";
		};
		gpio_usb_a0_ilimit_sdp: usb_a0_ilimit_sdp {
			gpios = <&gpio8 5 GPIO_OUTPUT>;
			enum-name = "GPIO_USB1_ILIM_SEL";
		};
		gpio_usb_c0_int_odl: usb_c0_int_odl {
			gpios = <&gpio0 1 GPIO_INPUT_PULL_UP>;
		};
		gpio_vccin_aux_vid0: vccin_aux_vid0 {
			gpios = <&gpio9 2 GPIO_INPUT>;
		};
		gpio_vccin_aux_vid1: vccin_aux_vid1 {
			gpios = <&gpioe 3 GPIO_INPUT>;
		};
		gpio_voldn_btn_odl: voldn_btn_odl {
			gpios = <&gpioa 2 GPIO_INPUT_PULL_UP>;
			enum-name = "GPIO_VOLUME_DOWN_L";
		};
		gpio_volup_btn_odl: volup_btn_odl {
			gpios = <&gpio9 3 GPIO_INPUT_PULL_UP>;
			enum-name = "GPIO_VOLUME_UP_L";
		};
	};

	named-i2c-ports {
		compatible = "named-i2c-ports";

		i2c_ec_i2c_eeprom: ec_i2c_eeprom {
			i2c-port = <&i2c0_0>;
			enum-name = "I2C_PORT_EEPROM";
		};
		i2c_ec_i2c_sensor: ec_i2c_sensor {
			i2c-port = <&i2c1_0>;
			enum-name = "I2C_PORT_SENSOR";
		};
		i2c_ec_i2c_usb_c0: ec_i2c_usb_c0 {
			i2c-port = <&i2c3_0>;
			enum-name = "I2C_PORT_USB_C0_TCPC";
		};
		i2c_ec_i2c_sub_usb_c1: ec_i2c_sub_usb_c1 {
			i2c-port = <&i2c5_1>;
			enum-name = "I2C_PORT_USB_C1_TCPC";
		};
		i2c_ec_i2c_batt: ec_i2c_batt {
			i2c-port = <&i2c7_0>;
			enum-name = "I2C_PORT_BATTERY";
		};
	};
};

&adc0 {
	status = "okay";
	pinctrl-0 = <&adc0_chan0_gp45
		     &adc0_chan1_gp44
		     &adc0_chan4_gp41
		     &adc0_chan6_gp34>;
	pinctrl-names = "default";
};

&i2c0_0 {
	status = "okay";
	pinctrl-0 = <&i2c0_0_sda_scl_gpb4_b5>;
	pinctrl-names = "default";
};

&i2c1_0 {
	status = "okay";
	pinctrl-0 = <&i2c1_0_sda_scl_gp87_90>;
	pinctrl-names = "default";
};

&i2c3_0 {
	status = "okay";
	pinctrl-0 = <&i2c3_0_sda_scl_gpd0_d1>;
	pinctrl-names = "default";
};

&i2c5_1 {
	status = "okay";
	pinctrl-0 = <&i2c5_1_sda_scl_gpf4_f5>;
	pinctrl-names = "default";
};

&i2c7_0 {
	status = "okay";
	pinctrl-0 = <&i2c7_0_sda_scl_gpb2_b3>;
	pinctrl-names = "default";
};

&i2c_ctrl0 {
	status = "okay";
};

&i2c_ctrl1 {
	status = "okay";
};

&i2c_ctrl3 {
	status = "okay";
};

&i2c_ctrl5 {
	status = "okay";
};

&i2c_ctrl7 {
	status = "okay";
};
```

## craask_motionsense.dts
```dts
/* Copyright 2022 The Chromium OS Authors. All rights reserved.
 * Use of this source code is governed by a BSD-style license that can be
 * found in the LICENSE file.
 */

#include <dt-bindings/motionsense/utils.h>


/ {
	aliases {
		/*
		 * Interrupt bindings for sensor devices.
		 */
		lsm6dso-int = &base_accel;
		lis2dw12-int = &lid_accel;
	};

	/*
	 * Declare mutexes used by sensor drivers.
	 * A mutex node is used to create an instance of mutex_t.
	 * A mutex node is referenced by a sensor node if the
	 * corresponding sensor driver needs to use the
	 * instance of the mutex.
	 */
	motionsense-mutex {
		compatible = "cros-ec,motionsense-mutex";
		lid_mutex: lid-mutex {
			label = "LID_MUTEX";
		};

		base_mutex: base-mutex {
			label = "BASE_MUTEX";
		};
	};

	/* Rotation matrix used by drivers. */
	motionsense-rotation-ref {
		compatible = "cros-ec,motionsense-rotation-ref";
		lid_rot_ref: lid-rotation-ref {
			mat33 = <(-1) 0 0
				 0 1 0
				 0 0 (-1)>;
		};

		base_rot_ref: base-rotation-ref {
			mat33 = <(-1) 0 0
				 0 (-1) 0
				 0 0 1>;
		};
	};

	/*
	 * Driver specific data. A driver-specific data can be shared with
	 * different motion sensors while they are using the same driver.
	 *
	 * If a node's compatible starts with "cros-ec,accelgyro-", it is for
	 * a common structure defined in accelgyro.h.
	 * e.g) compatible = "cros-ec,accelgyro-als-drv-data" is for
	 * "struct als_drv_data_t" in accelgyro.h
	 */
	motionsense-sensor-data {
		lsm6dso_data: lsm6dso-drv-data {
			compatible = "cros-ec,drvdata-lsm6dso";
			status = "okay";
		};

		lis2dw12_data: lis2dw12-drv-data {
			compatible = "cros-ec,drvdata-lis2dw12";
			status = "okay";
		};
	};

	/*
	 * List of motion sensors that creates motion_sensors array.
	 * The label "lid_accel" and "base_accel" are used to indicate
	 * motion sensor IDs for lid angle calculation.
	 * TODO(b/238139272): The first entries of the array must be
	 * accelerometers,then gyroscope. Fix this dependency in the DTS
	 * processing which makes the devicetree entries independent.
	 */
	motionsense-sensor {
		lid_accel: lid-accel {
			compatible = "cros-ec,lis2dw12";
			status = "okay";

			label = "Lid Accel";
			active-mask = "SENSOR_ACTIVE_S0_S3";
			location = "MOTIONSENSE_LOC_LID";
			mutex = <&lid_mutex>;
			port = <&i2c_ec_i2c_sensor>;
			rot-standard-ref = <&lid_rot_ref>;
			default-range = <2>;
			drv-data = <&lis2dw12_data>;
			i2c-spi-addr-flags = "LIS2DWL_ADDR0_FLAGS";
			configs {
				compatible =
					"cros-ec,motionsense-sensor-config";
				ec-s0 {
					label = "SENSOR_CONFIG_EC_S0";
					odr = <(10000 | ROUND_UP_FLAG)>;
				};
				ec-s3 {
					label = "SENSOR_CONFIG_EC_S3";
					odr = <(10000 | ROUND_UP_FLAG)>;
				};
			};
		};

		base_accel: base-accel {
			compatible = "cros-ec,lsm6dso-accel";
			status = "okay";

			label = "Base Accel";
			active-mask = "SENSOR_ACTIVE_S0_S3";
			location = "MOTIONSENSE_LOC_BASE";
			mutex = <&base_mutex>;
			port = <&i2c_ec_i2c_sensor>;
			rot-standard-ref = <&base_rot_ref>;
			drv-data = <&lsm6dso_data>;
			configs {
				compatible =
					"cros-ec,motionsense-sensor-config";
				ec-s0 {
					label = "SENSOR_CONFIG_EC_S0";
					odr = <(10000 | ROUND_UP_FLAG)>;
				};
				ec-s3 {
					label = "SENSOR_CONFIG_EC_S3";
					odr = <(10000 | ROUND_UP_FLAG)>;
				};
			};
		};

		base_gyro: base-gyro {
			compatible = "cros-ec,lsm6dso-gyro";
			status = "okay";

			label = "Base Gyro";
			active-mask = "SENSOR_ACTIVE_S0_S3";
			location = "MOTIONSENSE_LOC_BASE";
			mutex = <&base_mutex>;
			port = <&i2c_ec_i2c_sensor>;
			rot-standard-ref = <&base_rot_ref>;
			drv-data = <&lsm6dso_data>;
		};
	};

	motionsense-sensor-info {
		compatible = "cros-ec,motionsense-sensor-info";

		/*
		 * list of GPIO interrupts that have to
		 * be enabled at initial stage
		 */
		sensor-irqs = <&int_imu>;
		/* list of sensors in force mode */
		accel-force-mode-sensors = <&lid_accel>;
	};
};
```

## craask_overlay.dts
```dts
/* Copyright 2022 The Chromium OS Authors. All rights reserved.
 * Use of this source code is governed by a BSD-style license that can be
 * found in the LICENSE file.
 */

#include <cros/thermistor/thermistor.dtsi>

/ {
	aliases {
		gpio-cbi-wp = &gpio_ec_cbi_wp;
		gpio-wp = &gpio_ec_wp_odl;
		int-wp = &int_wp_l;
		gpio-kbd-kso2 = &gpio_ec_kso_02_inv;
	};

	ec-console {
		compatible = "ec-console";
		disabled = "events", "lpc", "hostcmd";
	};

	batteries {
		default_battery: lgc {
			compatible = "lgc,ap18c8k", "battery-smart";
		};
		cosmx {
			compatible = "cosmx,ap20cbl", "battery-smart";
		};
	};

	hibernate-wake-pins {
		compatible = "cros-ec,hibernate-wake-pins";
		wakeup-irqs = <
			&int_power_button
			&int_lid_open
		>;
	};

	gpio-interrupts {
		compatible = "cros-ec,gpio-interrupts";

		int_power_button: power_button {
			irq-pin = <&gpio_gsc_ec_pwr_btn_odl>;
			flags = <GPIO_INT_EDGE_BOTH>;
			handler = "power_button_interrupt";
		};
		int_wp_l: wp_l {
			irq-pin = <&gpio_ec_wp_odl>;
			flags = <GPIO_INT_EDGE_BOTH>;
			handler = "switch_interrupt";
		};
		int_lid_open: lid_open {
			irq-pin = <&gpio_lid_open>;
			flags = <GPIO_INT_EDGE_BOTH>;
			handler = "lid_interrupt";
		};
		int_tablet_mode: tablet_mode {
			irq-pin = <&gpio_tablet_mode_l>;
			flags = <GPIO_INT_EDGE_BOTH>;
			handler = "gmr_tablet_switch_isr";
		};
		int_imu: ec_imu {
			irq-pin = <&gpio_imu_int_l>;
			flags = <GPIO_INT_EDGE_FALLING>;
			handler = "lsm6dso_interrupt";
		};
		int_vol_down: vol_down {
			irq-pin = <&gpio_voldn_btn_odl>;
			flags = <GPIO_INT_EDGE_BOTH>;
			handler = "button_interrupt";
		};
		int_vol_up: vol_up {
			irq-pin = <&gpio_volup_btn_odl>;
			flags = <GPIO_INT_EDGE_BOTH>;
			handler = "button_interrupt";
		};
		int_usb_c0: usb_c0 {
			irq-pin = <&gpio_usb_c0_int_odl>;
			flags = <GPIO_INT_EDGE_FALLING>;
			handler = "usb_interrupt";
		};
		int_usb_c1: usb_c1 {
			irq-pin = <&gpio_sb_1>;
			flags = <GPIO_INT_EDGE_FALLING>;
			handler = "usb_interrupt";
		};
	};

	named-gpios {
		gpio_sb_1: sb_1 {
			gpios = <&gpio0 2 GPIO_PULL_UP>;
			no-auto-init;
		};

		gpio_sb_2: sb_2 {
			gpios = <&gpiod 4 GPIO_OUTPUT>;
			no-auto-init;
		};

		gpio_sb_3: sb_3 {
			gpios = <&gpiof 4 GPIO_OPEN_DRAIN>;
			no-auto-init;
		};
		gpio_sb_4: sb_4 {
			gpios = <&gpiof 5 GPIO_INPUT>;
			no-auto-init;
		};
	};

	/*
	 * Aliases used for sub-board GPIOs.
	 */
	aliases {
		/*
		 * Input GPIO when used with type-C port 1
		 * Output when used with HDMI sub-board
		 */
		gpio-usb-c1-int-odl = &gpio_sb_1;
		gpio-en-rails-odl = &gpio_sb_1;
		/*
		 * Sub-board with type A USB, enable.
		 */
		gpio-en-usb-a1-vbus = &gpio_sb_2;
		/*
		 * HPD pins for HDMI sub-board.
		 */
		gpio-hdmi-en-odl = &gpio_sb_3;
		gpio-hpd-odl = &gpio_sb_4;
		/*
		 * Enable S5 rails for LTE sub-board
		 */
		gpio-en-sub-s5-rails = &gpio_sb_2;
	};

	named-temp-sensors {
		memory {
			compatible = "cros-ec,temp-sensor-thermistor",
				     "cros-ec,temp-sensor";
			thermistor = <&thermistor_3V3_51K1_47K_4050B>;
			enum-name = "TEMP_SENSOR_1";
			temp_fan_off = <35>;
			temp_fan_max = <60>;
			temp_host_high = <85>;
			temp_host_halt = <90>;
			temp_host_release_high = <80>;
			adc = <&adc_temp_sensor_1>;
			power-good-pin = <&gpio_ec_soc_dsw_pwrok>;
		};
		charger {
			compatible = "cros-ec,temp-sensor-thermistor",
				     "cros-ec,temp-sensor";
			thermistor = <&thermistor_3V3_51K1_47K_4050B>;
			enum-name = "TEMP_SENSOR_2";
			temp_fan_off = <35>;
			temp_fan_max = <60>;
			temp_host_high = <85>;
			temp_host_halt = <90>;
			temp_host_release_high = <80>;
			adc = <&adc_temp_sensor_2>;
			power-good-pin = <&gpio_ec_soc_dsw_pwrok>;
		};
	};

	usba {
		compatible = "cros-ec,usba-port-enable-pins";
		/*
		 * sb_2 is only configured as GPIO when USB-A1 is present,
		 * but it's still safe to control when disabled.
		 *
		 * ILIM_SEL pins are referred to by legacy enum name,
		 * GPIO_USB*_ILIM_SEL. The one for port A1 is unused on
		 * sub-boards that don't have USB-A so is safe to control
		 * regardless of system configuration.
		 */
		enable-pins = <&gpio_en_usb_a0_vbus &gpio_sb_2>;
		status = "okay";
	};

	usbc {
		#address-cells = <1>;
		#size-cells = <0>;

		port0@0 {
			compatible = "named-usbc-port";
			reg = <0>;
			bc12 {
				compatible = "pericom,pi3usb9201";
				port = <&i2c_ec_i2c_usb_c0>;
				/*
				 * BC1.2 interrupt is shared with TCPC, so
				 * IRQ is not specified here and handled by
				 * usb_c0_interrupt.
				 */
			};
			chg {
				compatible = "intersil,isl923x";
				status = "okay";
				port = <&i2c_ec_i2c_usb_c0>;
			};
			usb-muxes = <&virtual_mux_0>;
		};
		port0-muxes {
			virtual_mux_0: virtual-mux-0 {
				compatible = "cros-ec,usbc-mux-virtual";
			};
		};
		/*
		 * TODO(b:211693800): port1 may not be present on some
		 * sub-boards.
		 */
		port1@1 {
			compatible = "named-usbc-port";
			reg = <1>;
			bc12 {
				compatible = "pericom,pi3usb9201";
				port = <&i2c_ec_i2c_sub_usb_c1>;
			};
			chg {
				compatible = "intersil,isl923x";
				status = "okay";
				port = <&i2c_ec_i2c_sub_usb_c1>;
			};
			/*
			 * Some sub-boards may disable all usb muxes in chain
			 * except virtual_mux_1
			 */
			usb-muxes = <&virtual_mux_1 &anx7483_mux_1>;
		};
		port1-muxes {
			virtual_mux_1: virtual-mux-1 {
				compatible = "cros-ec,usbc-mux-virtual";
			};
			anx7483_mux_1: anx7483-mux-1 {
				compatible = "analogix,anx7483";
				port = <&i2c_ec_i2c_sub_usb_c1>;
				i2c-addr-flags = "ANX7483_I2C_ADDR0_FLAGS";
			};
		};
	};

	kblight {
		compatible = "cros-ec,kblight-pwm";
		pwms = <&pwm6 6 PWM_KHZ(10) PWM_POLARITY_NORMAL>;
	};

	/*
	 * Set I2C pins for type C sub-board to be
	 * low voltage (I2C5_1).
	 * We do this for all boards, since the pins are
	 * 3.3V tolerant, and the only 2 types of sub-boards
	 * used on nivviks both have type-C ports on them.
	 */
	 def-lvol-io-list {
		compatible = "nuvoton,npcx-lvolctrl-def";
		lvol-io-pads = <&lvol_iof5 &lvol_iof4>;
	 };
};

&thermistor_3V3_51K1_47K_4050B {
	status = "okay";
};

&adc_ec_vsense_pp3300_s5 {
	/*
	 * Voltage divider on input has 47k upper and 220k lower legs with
	 * 2714 mV full-scale reading on the ADC. Apply the largest possible
	 * multiplier (without overflowing int32) to get the best possible
	 * approximation of the actual ratio, but derate by a factor of two to
	 * ensure unexpectedly high values won't overflow.
	 */
	mul = <(791261 / 2)>;
	div = <(651975 / 2)>;
};

/* Set bus speeds for I2C */
&i2c0_0 {
	label = "I2C_EEPROM";
	clock-frequency = <I2C_BITRATE_FAST>;

	cbi_eeprom: eeprom@50 {
		compatible = "atmel,at24";
		reg = <0x50>;
		label = "EEPROM_CBI";
		size = <2048>;
		pagesize = <16>;
		address-width = <8>;
		timeout = <5>;
	};
};

&i2c1_0 {
	label = "I2C_SENSOR";
	clock-frequency = <I2C_BITRATE_FAST>;
};

&i2c3_0 {
	label = "I2C_USB_C0_TCPC";
	clock-frequency = <I2C_BITRATE_FAST_PLUS>;
};

&i2c5_1 {
	label = "I2C_SUB_C1_TCPC";
	clock-frequency = <I2C_BITRATE_FAST_PLUS>;
};

&i2c7_0 {
	label = "I2C_BATTERY";
	clock-frequency = <I2C_BITRATE_STANDARD>;
};

&pwm6 {
	status = "okay";
	pinctrl-0 = <&pwm6_gpc0>;
	pinctrl-names = "default";
};

/* host interface */
&espi0 {
	status = "okay";
	pinctrl-0 = <&espi_lpc_gp46_47_51_52_53_54_55_57>;
	pinctrl-names = "default";
};
```

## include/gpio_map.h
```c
/* Copyright 2021 The Chromium OS Authors. All rights reserved.
 * Use of this source code is governed by a BSD-style license that can be
 * found in the LICENSE file.
 */
```

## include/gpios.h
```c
/* Copyright 2022 The Chromium OS Authors. All rights reserved.
 * Use of this source code is governed by a BSD-style license that can be
 * found in the LICENSE file.
 */

#ifndef __ZEPHYR_NISSA_GPIOS_H
#define __ZEPHYR_NISSA_GPIOS_H

#include <devicetree.h>
#include <drivers/gpio.h>

/*
 * Nissa board specific GPIOs.
 * These pins have multiple functions depending
 * on the sub-board connected.
 */
extern const struct gpio_dt_spec gpio_usb_c1_int_odl;
extern const struct gpio_dt_spec gpio_en_sub_rails_odl;
extern const struct gpio_dt_spec gpio_usb_c0_int_odl;
extern const struct gpio_dt_spec gpio_hdmi_en_sub_odl;
extern const struct gpio_dt_spec gpio_hpd_sub_odl;
extern const struct gpio_dt_spec gpio_en_sub_usb_a1_vbus;
extern const struct gpio_dt_spec gpio_sub_usb_a1_ilimit_sdp;

#endif /* __ZEPHYR_NISSA_GPIOS_H */
```

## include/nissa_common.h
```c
/* Copyright 2022 The ChromiumOS Authors
 * Use of this source code is governed by a BSD-style license that can be
 * found in the LICENSE file.
 */

/* Nissa common declarations */

#ifndef __CROS_EC_NISSA_NISSA_COMMON_H__
#define __CROS_EC_NISSA_NISSA_COMMON_H__

#include "usb_mux.h"

enum nissa_sub_board_type {
	NISSA_SB_UNKNOWN = -1, /* Uninitialised */
	NISSA_SB_NONE = 0, /* No board defined */
	NISSA_SB_C_A = 1, /* USB type C, USB type A */
	NISSA_SB_C_LTE = 2, /* USB type C, WWAN LTE */
	NISSA_SB_HDMI_A = 3, /* HDMI, USB type A */
};

extern struct usb_mux usb_muxes[CONFIG_USB_PD_PORT_MAX_COUNT];

enum nissa_sub_board_type nissa_get_sb_type(void);

#endif /* __CROS_EC_NISSA_NISSA_COMMON_H__ */
```

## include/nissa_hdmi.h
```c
/* Copyright 2022 The ChromiumOS Authors
 * Use of this source code is governed by a BSD-style license that can be
 * found in the LICENSE file.
 */

/* Nissa shared HDMI sub-board functionality */

#ifndef __CROS_EC_NISSA_NISSA_HDMI_H__
#define __CROS_EC_NISSA_NISSA_HDMI_H__

#include "common.h"

/** True if the board supports an HDMI sub-board. */
#define NISSA_BOARD_HAS_HDMI_SUPPORT DT_NODE_EXISTS(DT_NODELABEL(gpio_hdmi_sel))

/**
 * Configure the GPIO that controls core rails on the HDMI sub-board.
 *
 * This is the gpio_en_rails_odl pin, which is configured as active-low
 * open-drain output to enable power to the HDMI sub-board (typically when the
 * AP is in S5 or above).
 *
 * This function must be called if the pin is connected to the HDMI board and
 * power is not enabled by default.
 */
void nissa_configure_hdmi_rails(void);

/**
 * Configure the GPIO that controls the HDMI VCC pin on the HDMI sub-board.
 *
 * This is the gpio_hdmi_en_odl pin, which is configured as active-low
 * open-drain output to enable the VCC pin on the HDMI connector (typically when
 * the AP is on, in S0 or S0ix).
 *
 * This function must be called if the pin is connected to the HDMI board and
 * VCC is not enabled by default.
 */
void nissa_configure_hdmi_vcc(void);

/**
 * Configure the GPIOS controlling HDMI sub-board power (core rails and VCC).
 *
 * This function is called from shared code while configuring sub-boards, and
 * used if an HDMI sub-board is present. The default implementation enables the
 * core rails control pin (nissa_configure_hdmi_rails) but not VCC
 * (nissa_configure_hdmi_vcc), assuming that the pin for VCC is not connected
 * connected on most boards (and that VCC will be turned on whenever the core
 * rails are turned on).
 *
 * A board should override this function if it needs to enable more IOs for
 * HDMI, or if some pins need to be conditionally enabled.
 */
__override_proto void nissa_configure_hdmi_power_gpios(void);

#endif /* __CROS_EC_NISSA_NISSA_HDMI_H__ */
```

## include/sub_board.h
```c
/* Copyright 2022 The Chromium OS Authors. All rights reserved.
 * Use of this source code is governed by a BSD-style license that can be
 * found in the LICENSE file.
 */

/* Nissa sub board detection */

#ifndef __CROS_EC_NISSA_SUB_BOARD_H
#define __CROS_EC_NISSA_SUB_BOARD_H

enum nissa_sub_board_type {
	NISSA_SB_UNKNOWN = -1,	/* Uninitialised */
	NISSA_SB_NONE = 0,	/* No board defined */
	NISSA_SB_C_A = 1,	/* USB type C, USB type A */
	NISSA_SB_C_LTE = 2,	/* USB type C, WWAN LTE */
	NISSA_SB_HDMI_A = 3,	/* HDMI, USB type A */
};

enum nissa_sub_board_type nissa_get_sb_type(void);

#endif /* __CROS_EC_NISSA_SUB_BOARD_H */
```

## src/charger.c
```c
/* Copyright 2021 The Chromium OS Authors. All rights reserved.
 * Use of this source code is governed by a BSD-style license that can be
 * found in the LICENSE file.
 */

#include "battery.h"
#include "charger.h"
#include "charger/isl923x_public.h"
#include "usb_pd.h"
#include "sub_board.h"

const struct charger_config_t chg_chips[] = {
	{
		.i2c_port = I2C_PORT_USB_C0_TCPC,
		.i2c_addr_flags = ISL923X_ADDR_FLAGS,
		.drv = &isl923x_drv,
	},
	/* Sub-board */
	{
		.i2c_port = I2C_PORT_USB_C1_TCPC,
		.i2c_addr_flags = ISL923X_ADDR_FLAGS,
		.drv = &isl923x_drv,
	},
};

int extpower_is_present(void)
{
	int port;
	int rv;
	bool acok;

	for (port = 0; port < board_get_usb_pd_port_count(); port++) {
		rv = raa489000_is_acok(port, &acok);
		if ((rv == EC_SUCCESS) && acok)
			return 1;
	}

	return 0;
}

/*
 * Count of chargers depends on sub board presence.
 */
__override uint8_t board_get_charger_chip_count(void)
{
	switch (nissa_get_sb_type()) {
	default:
		return 1;

	case NISSA_SB_C_A:
	case NISSA_SB_C_LTE:
		return 2;
	}
}
```

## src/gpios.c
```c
/* Copyright 2022 The Chromium OS Authors. All rights reserved.
 * Use of this source code is governed by a BSD-style license that can be
 * found in the LICENSE file.
 */

#include "gpios.h"

/*
 * gpio reference structures.
 */

/*
 * Unfortunately the flags in gpio_dt_spec only allow 8 bits,
 * and many of our DTS entries GPIO flags exceed that,
 * so create a new macro that only uses the lower 8 bits.
 */

#define NISSA_GPIO(x)							       \
const struct gpio_dt_spec x =						       \
{									       \
	.port = DEVICE_DT_GET(DT_GPIO_CTLR(DT_NODELABEL(x), gpios)),	       \
	.pin = DT_GPIO_PIN(DT_NODELABEL(x), gpios),			       \
	.dt_flags = 0xFF & (DT_GPIO_FLAGS(DT_NODELABEL(x), gpios)),	       \
}

NISSA_GPIO(gpio_usb_c1_int_odl);
NISSA_GPIO(gpio_en_sub_rails_odl);
NISSA_GPIO(gpio_usb_c0_int_odl);
NISSA_GPIO(gpio_hdmi_en_sub_odl);
NISSA_GPIO(gpio_hpd_sub_odl);
NISSA_GPIO(gpio_en_sub_usb_a1_vbus);
NISSA_GPIO(gpio_sub_usb_a1_ilimit_sdp);
```

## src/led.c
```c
/* Copyright 2022 The ChromiumOS Authors
 * Use of this source code is governed by a BSD-style license that can be
 * found in the LICENSE file.
 *
 * Battery LED control for nissa
 */
#include "common.h"
#include "ec_commands.h"
#include "led_common.h"
#include "led_onoff_states.h"
#include "led_pwm.h"

__override const int led_charge_lvl_1 = 5;
__override const int led_charge_lvl_2 = 97;
__override struct led_descriptor
	led_bat_state_table[LED_NUM_STATES][LED_NUM_PHASES] = {
		[STATE_CHARGING_LVL_1] = { { EC_LED_COLOR_RED,
					     LED_INDEFINITE } },
		[STATE_CHARGING_LVL_2] = { { EC_LED_COLOR_AMBER,
					     LED_INDEFINITE } },
		[STATE_CHARGING_FULL_CHARGE] = { { EC_LED_COLOR_GREEN,
						   LED_INDEFINITE } },
		[STATE_DISCHARGE_S0] = { { LED_OFF, LED_INDEFINITE } },
		[STATE_DISCHARGE_S0_BAT_LOW] = { { EC_LED_COLOR_AMBER,
						   1 * LED_ONE_SEC },
						 { LED_OFF, 3 * LED_ONE_SEC } },
		[STATE_DISCHARGE_S3] = { { LED_OFF, LED_INDEFINITE } },
		[STATE_DISCHARGE_S5] = { { LED_OFF, LED_INDEFINITE } },
		[STATE_BATTERY_ERROR] = { { EC_LED_COLOR_RED, 1 * LED_ONE_SEC },
					  { LED_OFF, 1 * LED_ONE_SEC } },
		[STATE_FACTORY_TEST] = { { EC_LED_COLOR_RED, 2 * LED_ONE_SEC },
					 { EC_LED_COLOR_GREEN,
					   2 * LED_ONE_SEC } },
	};

__override void led_set_color_battery(enum ec_led_colors color)
{
	switch (color) {
	case EC_LED_COLOR_RED:
		set_pwm_led_color(EC_LED_ID_BATTERY_LED, EC_LED_COLOR_RED);
		break;
	case EC_LED_COLOR_GREEN:
		set_pwm_led_color(EC_LED_ID_BATTERY_LED, EC_LED_COLOR_GREEN);
		break;
	case EC_LED_COLOR_AMBER:
		set_pwm_led_color(EC_LED_ID_BATTERY_LED, EC_LED_COLOR_AMBER);
		break;
	default: /* LED_OFF and other unsupported colors */
		set_pwm_led_color(EC_LED_ID_BATTERY_LED, -1);
		break;
	}
}
```
